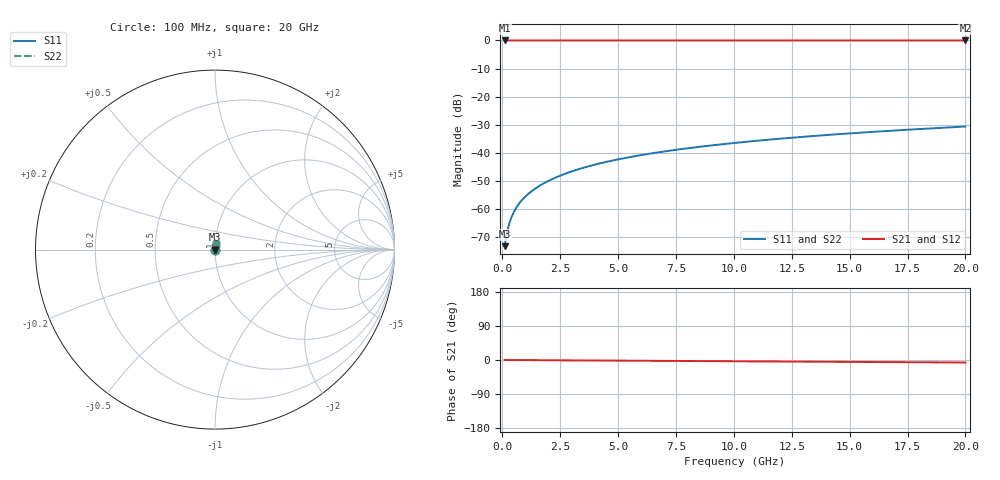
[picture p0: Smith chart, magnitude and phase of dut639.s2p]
! Touchstone file exported from HFSS 2026.1.0
!  File:  C:/ffzhzh/LocalFiles/Ansys_Project_Files/temp_train_TSV_639_1783026405_51716.aedt
!  Generated:  05:08:28 AM Jul  3, 2026
!  Design:  TSV
!  Project:  temp_train_TSV_639_1783026405_51716
! Variables:
!  h_bsmrdl = 2um
!  h_ox = 20um
!  h_rdl = 5um
!  h_sub = 59.87um
!  h_tmrdl = 5um
!  h_tsv = 59.87um
!  h_via = 3um
!  l_bsmrdl = 300um
!  l_sub = 417.38um
!  l_tmrdl = 200um
!  m_sub = 200um
!  pitch = 47.33um
!  r_tsv = 8.69um
!  s_tmrdl = 10um
!  w_bsmrdl = 18um
!  w_sub = 500um
!  w_tmrdl = 12um
!  x_tsv_center1 = 206um
!  x_tsv_center2 = 524um
!  x_tsv_center3 = 736um
!  x_tsv_center4 = 1054um
!  x_tsv_center5 = 1266um
!  x_tsv_center6 = 1584um
# GHz S MA R 50.000000
! Terminal data exported
! Port[1] = TSV1_1_T1
! Port[2] = TSV1_1_T2
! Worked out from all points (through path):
!   200 points, 100 MHz to 20 GHz, reference 50 ohm
!   highest |S21| = 0.00 dB at 100 MHz (marker M1); lowest = 0.0 dB at 20 GHz (marker M2)
!   lowest |S11| = -73.1 dB at 100 MHz (marker M3), VSWR 1.00, Z = 50 + j0.0182 ohm
!   |S11| at or under -10 dB: start of sweep to end of sweep
!   |S22| runs from -73.1 to -30.6 dB; largest |S21 - S12| = 3.2e-15
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0.1  0.0002208 55.3  0.9999 -0.0  0.9999 -0.0  0.0002208 55.3
! Gamma 0 0 0 0
! Port Impedance 50 0 50 0
0.2  0.0003855 69.5  0.9999 -0.1  0.9999 -0.1  0.0003855 69.5
0.3  0.0005574 74.5  0.9999 -0.1  0.9999 -0.1  0.0005574 74.5
0.4  0.0007281 76.8  0.9998 -0.1  0.9998 -0.1  0.0007281 76.8
0.5  0.0008956 78.1  0.9998 -0.2  0.9998 -0.2  0.0008956 78.1
0.6  0.00106 78.9  0.9998 -0.2  0.9998 -0.2  0.00106 78.9
0.7  0.00122 79.5  0.9998 -0.2  0.9998 -0.2  0.00122 79.5
0.8  0.001378 79.9  0.9998 -0.3  0.9998 -0.3  0.001378 79.9
1  0.001689 80.7  0.9997 -0.3  0.9997 -0.3  0.001689 80.7
1.4  0.002299 81.8  0.9997 -0.5  0.9997 -0.5  0.002299 81.8
1.7  0.002753 82.4  0.9997 -0.6  0.9997 -0.6  0.002753 82.4
2  0.003206 82.9  0.9996 -0.7  0.9996 -0.7  0.003206 82.9
2.7  0.004262 83.6  0.9996 -0.9  0.9996 -0.9  0.004262 83.6
3.5  0.005465 84.0  0.9995 -1.2  0.9995 -1.2  0.005465 84.0
4.2  0.006512 84.2  0.9995 -1.4  0.9995 -1.4  0.006512 84.2
5  0.007703 84.3  0.9994 -1.7  0.9994 -1.7  0.007703 84.3
6.8  0.01036 84.2  0.9993 -2.3  0.9993 -2.3  0.01036 84.2
8.3  0.01256 84.0  0.9992 -2.8  0.9992 -2.8  0.01256 84.0
10.1  0.01519 83.7  0.9991 -3.4  0.9991 -3.4  0.01519 83.7
13.4  0.01999 83.0  0.9989 -4.5  0.9989 -4.5  0.01999 83.0
16.7  0.02476 82.1  0.9987 -5.6  0.9987 -5.6  0.02476 82.1
20  0.0295 81.2  0.9985 -6.7  0.9985 -6.7  0.0295 81.2
